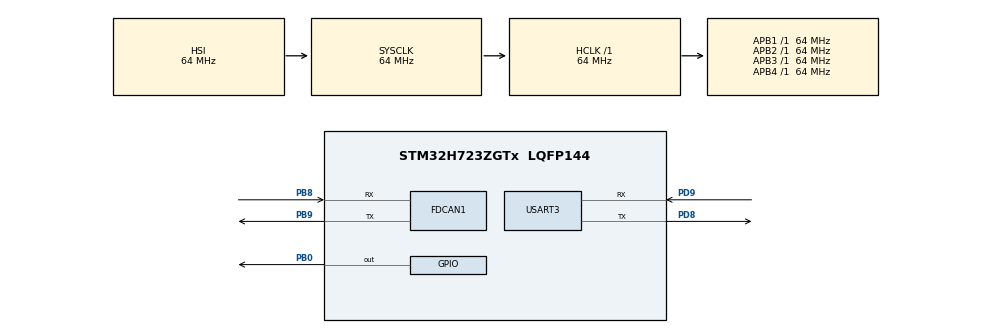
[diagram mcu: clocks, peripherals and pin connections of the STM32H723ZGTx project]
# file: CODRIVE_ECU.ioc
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FDCAN1.CalculateBaudRateNominal=500000
FDCAN1.CalculateTimeBitNominal=2000
FDCAN1.CalculateTimeQuantumNominal=31.25
FDCAN1.FrameFormat=FDCAN_FRAME_CLASSIC
FDCAN1.RxFifo0ElmtSize=FDCAN_DATA_BYTES_8
FDCAN1.TxFifoQueueElmtsNbr=3
FDCAN1.TxFifoQueueMode=FDCAN_TX_FIFO_OPERATION
FDCAN1.TxElmtSize=FDCAN_DATA_BYTES_8
FDCAN1.Mode=FDCAN_MODE_NORMAL
FDCAN1.NominalPrescaler=4
FDCAN1.NominalTimeSeg1=56
FDCAN1.NominalTimeSeg2=7
FDCAN1.RxFifo0ElmtsNbr=3
FDCAN1.StdFiltersNbr=1
Mcu.Family=STM32H7
Mcu.Name=STM32H723ZGTx
Mcu.Package=LQFP144
NVIC.FDCAN1_IT0_IRQn=true\:0\:0\:false\:false\:true\:true\:true\:true
NVIC.PriorityGroup=NVIC_PRIORITYGROUP_4
NVIC.USART3_IRQn=true\:0\:0\:false\:false\:true\:true\:true\:true
PB8.Mode=FDCAN_Activate
PB8.Signal=FDCAN1_RX
PB9.Mode=FDCAN_Activate
PB9.Signal=FDCAN1_TX
PB0.Signal=GPIO_Output
PD8.Mode=Asynchronous
PD8.Signal=USART3_TX
PD9.Mode=Asynchronous
PD9.Signal=USART3_RX
ProjectManager.HeapSize=0x200
ProjectManager.StackSize=0x400
ProjectManager.TargetToolchain=STM32CubeIDE
RCC.ADCFreq_Value=128000000
RCC.APB1Freq_Value=64000000
RCC.APB2Freq_Value=64000000
RCC.APB3Freq_Value=64000000
RCC.APB4Freq_Value=64000000
RCC.CortexFreq_Value=64000000
RCC.HCLKFreq_Value=64000000
RCC.PLLN=128
RCC.SYSCLKFreq_VALUE=64000000
RCC.USBFreq_Value=128000000
USART3.VirtualMode-Asynchronous=VM_ASYNC
VP_MEMORYMAP_VS_MEMORYMAP.Mode=CurAppReg
board=NUCLEO-H723ZG

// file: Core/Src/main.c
/* USER CODE BEGIN Header */
/**
  ******************************************************************************
  * @file    main.c
  * @brief   CODRIVE ECU - UART + Classic CAN VehicleState (500 kbit/s)
  ******************************************************************************
  */
/* USER CODE END Header */

#include "main.h"
#include <stdio.h>

/* USER CODE BEGIN PTD */
typedef struct
{
    float speed_kph;
    uint8_t brake_pressed;
    float steering_deg;
    uint32_t last_update_ms;
} VehicleState;
/* USER CODE END PTD */

/* USER CODE BEGIN PD */
#define CAN_ID_SPEED       0x100U
#define CAN_ID_BRAKE       0x101U
#define CAN_ID_STEERING    0x102U

#define CAN_TEST_PERIOD_MS 500U
/* USER CODE END PD */

FDCAN_HandleTypeDef hfdcan1;
UART_HandleTypeDef huart3;

/* USER CODE BEGIN PV */
static uint8_t rx_byte = 0;

volatile uint8_t last_rx_data = 0;
volatile uint32_t rx_count = 0;
volatile uint32_t uart_error_count = 0;
volatile uint32_t last_uart_error = 0;
volatile uint32_t uart_rearm_fail_count = 0;

volatile VehicleState vehicle_state = {0};

volatile uint32_t can_tx_count = 0;
volatile uint32_t can_rx_count = 0;
volatile uint32_t can_tx_error_count = 0;
volatile uint32_t can_rx_error_count = 0;
volatile uint32_t can_last_rx_id = 0;
volatile uint32_t can_last_hal_error = 0;
volatile uint32_t can_init_stage = 0;
volatile uint32_t can_valid_rx_count = 0;
volatile uint32_t can_invalid_frame_count = 0;
volatile uint32_t can_unknown_id_count = 0;
volatile uint32_t can_fifo_lost_count = 0;
volatile uint32_t can_bus_off_count = 0;
volatile uint32_t can_protocol_error_count = 0;
volatile uint32_t can_bus_off = 0;
volatile uint32_t can_last_protocol_error = 0;
volatile uint32_t can_kernel_clock_hz = 0;
volatile uint32_t can_nominal_bitrate = 0;
volatile uint32_t can_speed_rx_count = 0;
volatile uint32_t can_brake_rx_count = 0;
volatile uint32_t can_steering_rx_count = 0;
volatile uint32_t can_speed_last_ms = 0;
volatile uint32_t can_brake_last_ms = 0;
volatile uint32_t can_steering_last_ms = 0;
volatile uint32_t can_tx_error_counter = 0;
volatile uint32_t can_rx_error_counter = 0;
volatile uint32_t telemetry_tx_count = 0;
volatile uint32_t telemetry_skip_count = 0;
static char telemetry_buffer[320];

static uint32_t can_last_test_ms = 0;
static uint16_t test_speed_raw = 0;
static int16_t test_steering_raw = -300;
/* USER CODE END PV */

void SystemClock_Config(void);
static void MX_GPIO_Init(void);
static void MX_USART3_UART_Init(void);
static void MX_FDCAN1_Init(void);

/* USER CODE BEGIN PFP */
static void CAN_Setup(void);
static void CAN_Send(uint32_t id, const uint8_t data[8]);
static void CAN_ProcessRx(void);
static void CAN_SendTestData(void);
static void CAN_CheckStatus(void);
static void UART_SendVehicleTelemetry(void);
/* USER CODE END PFP */

/* USER CODE BEGIN 0 */

void HAL_UART_RxCpltCallback(UART_HandleTypeDef *huart)
{
    if (huart->Instance != USART3)
    {
        return;
    }

    last_rx_data = rx_byte;
    rx_count++;

    switch (rx_byte)
    {
        case '1':
            HAL_GPIO_WritePin(GPIOB, GPIO_PIN_0, GPIO_PIN_SET);
            break;

        case '0':
            HAL_GPIO_WritePin(GPIOB, GPIO_PIN_0, GPIO_PIN_RESET);
            break;

        case 'T':
        case 't':
            HAL_GPIO_TogglePin(GPIOB, GPIO_PIN_0);
            break;

        default:
            break;
    }

    if (HAL_UART_Receive_IT(&huart3, &rx_byte, 1) != HAL_OK)
    {
        uart_rearm_fail_count++;
    }
}

void HAL_UART_ErrorCallback(UART_HandleTypeDef *huart)
{
    if (huart->Instance != USART3)
    {
        return;
    }

    uart_error_count++;
    last_uart_error = HAL_UART_GetError(huart);

    if (huart->RxState == HAL_UART_STATE_READY)
    {
        if (HAL_UART_Receive_IT(&huart3, &rx_byte, 1) != HAL_OK)
        {
            uart_rearm_fail_count++;
        }
    }
}

static void CAN_Setup(void)
{
    FDCAN_FilterTypeDef filter = {0};

    can_init_stage = 1;

    can_kernel_clock_hz = HAL_RCCEx_GetPeriphCLKFreq(RCC_PERIPHCLK_FDCAN);
    can_nominal_bitrate = can_kernel_clock_hz /
        (hfdcan1.Init.NominalPrescaler *
         (1U + hfdcan1.Init.NominalTimeSeg1 + hfdcan1.Init.NominalTimeSeg2));
    if (can_kernel_clock_hz != 128000000U || can_nominal_bitrate != 500000U)
    {
        Error_Handler();
    }

    filter.IdType = FDCAN_STANDARD_ID;
    filter.FilterIndex = 0;
    filter.FilterType = FDCAN_FILTER_MASK;
    filter.FilterConfig = FDCAN_FILTER_TO_RXFIFO0;
    filter.FilterID1 = 0;
    filter.FilterID2 = 0;

    if (HAL_FDCAN_ConfigFilter(&hfdcan1, &filter) != HAL_OK)
    {
        can_last_hal_error = HAL_FDCAN_GetError(&hfdcan1);
        Error_Handler();
    }

    can_init_stage = 2;

    if (HAL_FDCAN_ConfigGlobalFilter(
            &hfdcan1,
            FDCAN_REJECT,
            FDCAN_REJECT,
            FDCAN_REJECT_REMOTE,
            FDCAN_REJECT_REMOTE) != HAL_OK)
    {
        can_last_hal_error = HAL_FDCAN_GetError(&hfdcan1);
        Error_Handler();
    }

    can_init_stage = 3;

    if (HAL_FDCAN_Start(&hfdcan1) != HAL_OK)
    {
        can_last_hal_error = HAL_FDCAN_GetError(&hfdcan1);
        Error_Handler();
    }

    can_init_stage = 4;
}

static void CAN_Send(uint32_t id, const uint8_t data[8])
{
    FDCAN_TxHeaderTypeDef tx_header = {0};

    tx_header.Identifier = id;
    tx_header.IdType = FDCAN_STANDARD_ID;
    tx_header.TxFrameType = FDCAN_DATA_FRAME;
    tx_header.DataLength = FDCAN_DLC_BYTES_8;
    tx_header.ErrorStateIndicator = FDCAN_ESI_ACTIVE;
    tx_header.BitRateSwitch = FDCAN_BRS_OFF;
    tx_header.FDFormat = FDCAN_CLASSIC_CAN;
    tx_header.TxEventFifoControl = FDCAN_NO_TX_EVENTS;
    tx_header.MessageMarker = 0;

    if (HAL_FDCAN_AddMessageToTxFifoQ(
            &hfdcan1,
            &tx_header,
            (uint8_t *)data) == HAL_OK)
    {
        can_tx_count++;
    }
    else
    {
        can_tx_error_count++;
        can_last_hal_error = HAL_FDCAN_GetError(&hfdcan1);
    }
}

static void CAN_SendTestData(void)
{
    uint8_t speed_data[8] = {0};
    uint8_t brake_data[8] = {0};
    uint8_t steering_data[8] = {0};

    uint16_t steering_bits;

    test_speed_raw += 50U;

    if (test_speed_raw > 10000U)
    {
        test_speed_raw = 0;
    }

    test_steering_raw += 100;

    if (test_steering_raw > 300)
    {
        test_steering_raw = -300;
    }

    /* Speed: uint16 little-endian, 0.01 km/h */
    speed_data[0] = (uint8_t)(test_speed_raw & 0xFFU);
    speed_data[1] = (uint8_t)((test_speed_raw >> 8) & 0xFFU);

    /* Brake: 0 = OFF, 1 = ON */
    brake_data[0] =
        ((test_speed_raw / 50U) % 2U) ? 1U : 0U;

    /* Steering: signed int16 little-endian, 0.1 degree */
    steering_bits = (uint16_t)test_steering_raw;

    steering_data[0] = (uint8_t)(steering_bits & 0xFFU);
    steering_data[1] = (uint8_t)((steering_bits >> 8) & 0xFFU);

    CAN_Send(CAN_ID_SPEED, speed_data);
    CAN_Send(CAN_ID_BRAKE, brake_data);
    CAN_Send(CAN_ID_STEERING, steering_data);
}

static void CAN_ProcessRx(void)
{
    FDCAN_RxHeaderTypeDef rx_header = {0};
    uint8_t rx_data[8] = {0};

    while (HAL_FDCAN_GetRxFifoFillLevel(
               &hfdcan1, FDCAN_RX_FIFO0) > 0U)
    {
        if (HAL_FDCAN_GetRxMessage(
                &hfdcan1,
                FDCAN_RX_FIFO0,
                &rx_header,
                rx_data) != HAL_OK)
        {
            can_rx_error_count++;
            can_last_hal_error = HAL_FDCAN_GetError(&hfdcan1);
            break;
        }

        can_rx_count++;
        can_last_rx_id = rx_header.Identifier;

        if (rx_header.IdType != FDCAN_STANDARD_ID ||
            rx_header.RxFrameType != FDCAN_DATA_FRAME ||
            rx_header.DataLength != FDCAN_DLC_BYTES_8 ||
            rx_header.FDFormat != FDCAN_CLASSIC_CAN)
        {
            can_invalid_frame_count++;
            continue;
        }

        switch (rx_header.Identifier)
        {
            case CAN_ID_SPEED:
            {
                uint16_t raw =
                    (uint16_t)rx_data[0] |
                    ((uint16_t)rx_data[1] << 8);

                vehicle_state.speed_kph = raw * 0.01f;
                vehicle_state.last_update_ms = HAL_GetTick();
                can_speed_last_ms = vehicle_state.last_update_ms;
                can_speed_rx_count++;
                can_valid_rx_count++;
                break;
            }

            case CAN_ID_BRAKE:
            {
                if (rx_data[0] > 1U)
                {
                    can_invalid_frame_count++;
                    break;
                }
                vehicle_state.brake_pressed =
                    (rx_data[0] != 0U) ? 1U : 0U;

                vehicle_state.last_update_ms = HAL_GetTick();
                can_brake_last_ms = vehicle_state.last_update_ms;
                can_brake_rx_count++;
                can_valid_rx_count++;
                break;
            }

            case CAN_ID_STEERING:
            {
                uint16_t bits =
                    (uint16_t)rx_data[0] |
                    ((uint16_t)rx_data[1] << 8);

                int32_t signed_raw =
                    (bits & 0x8000U)
                    ? ((int32_t)bits - 65536)
                    : (int32_t)bits;

                vehicle_state.steering_deg =
                    signed_raw * 0.1f;

                vehicle_state.last_update_ms = HAL_GetTick();
                can_steering_last_ms = vehicle_state.last_update_ms;
                can_steering_rx_count++;
                can_valid_rx_count++;
                break;
            }

            default:
                can_unknown_id_count++;
                break;
        }
    }
}

/* Poll status as well as FIFO; no second receive path or new UART protocol. */
static void CAN_CheckStatus(void)
{
    static uint32_t last_check_ms = 0;
    FDCAN_ProtocolStatusTypeDef status = {0};
    FDCAN_ErrorCountersTypeDef counters = {0};

    if (__HAL_FDCAN_GET_FLAG(&hfdcan1, FDCAN_FLAG_RX_FIFO0_MESSAGE_LOST))
    {
        __HAL_FDCAN_CLEAR_FLAG(&hfdcan1, FDCAN_FLAG_RX_FIFO0_MESSAGE_LOST);
        can_fifo_lost_count++; /* Latched events, not an exact lost-frame count. */
    }
    if ((HAL_GetTick() - last_check_ms) < 100U)
    {
        return;
    }
    last_check_ms = HAL_GetTick();
    if (HAL_FDCAN_GetProtocolStatus(&hfdcan1, &status) == HAL_OK)
    {
        if (status.BusOff && !can_bus_off)
        {
            can_bus_off_count++;
        }
        can_bus_off = status.BusOff;
        if (status.LastErrorCode > 0U && status.LastErrorCode < 7U)
        {
            can_last_protocol_error = status.LastErrorCode;
            can_protocol_error_count++; /* Error observations between status reads. */
        }
    }
    else
    {
        can_rx_error_count++;
        can_last_hal_error = HAL_FDCAN_GetError(&hfdcan1);
    }
    if (HAL_FDCAN_GetErrorCounters(&hfdcan1, &counters) == HAL_OK)
    {
        can_tx_error_counter = counters.TxErrorCnt;
        can_rx_error_counter = counters.RxErrorCnt;
    }
}

/* Nonblocking TX; UART RX interrupt and existing LED commands stay active.
 * Static buffer is only overwritten once the previous TX has completed. */
static void UART_SendVehicleTelemetry(void)
{
    static uint32_t last_ms = 0;
    uint32_t now = HAL_GetTick();
    int length;
    int32_t steering_tenths;
    if ((now - last_ms) < 200U)
    {
        return;
    }
    last_ms = now;
    if (huart3.gState != HAL_UART_STATE_READY)
    {
        telemetry_skip_count++;
        return;
    }
    steering_tenths = (int32_t)(vehicle_state.steering_deg * 10.0f +
                         ((vehicle_state.steering_deg >= 0.0f) ? 0.5f : -0.5f));
    length = snprintf(telemetry_buffer, sizeof(telemetry_buffer),
        "ECU,ms=%lu,speed_raw=%lu,brake=%u,steer_raw=%ld,rx=%lu,valid=%lu,"
        "speed_n=%lu,brake_n=%lu,steer_n=%lu,speed_ms=%lu,brake_ms=%lu,steer_ms=%lu,"
        "err=%lu,invalid=%lu,lost=%lu,bo=%lu,lec=%lu\r\n",
        (unsigned long)now,
        (unsigned long)(vehicle_state.speed_kph * 100.0f + 0.5f),
        (unsigned int)vehicle_state.brake_pressed, (long)steering_tenths,
        (unsigned long)can_rx_count, (unsigned long)can_valid_rx_count,
        (unsigned long)can_speed_rx_count, (unsigned long)can_brake_rx_count,
        (unsigned long)can_steering_rx_count,
        (unsigned long)can_speed_last_ms, (unsigned long)can_brake_last_ms,
        (unsigned long)can_steering_last_ms,
        (unsigned long)can_rx_error_count, (unsigned long)can_invalid_frame_count,
        (unsigned long)can_fifo_lost_count, (unsigned long)can_bus_off,
        (unsigned long)can_last_protocol_error);
    if (length > 0 && (size_t)length < sizeof(telemetry_buffer) &&
        HAL_UART_Transmit_IT(&huart3, (uint8_t *)telemetry_buffer, (uint16_t)length) == HAL_OK)
    {
        telemetry_tx_count++;
    }
    else
    {
        telemetry_skip_count++;
    }
}

/* USER CODE END 0 */

int main(void)
{
    HAL_Init();
    SystemClock_Config();

    MX_GPIO_Init();
    MX_USART3_UART_Init();
    MX_FDCAN1_Init();

    /* USER CODE BEGIN 2 */
    if (HAL_UART_Receive_IT(&huart3, &rx_byte, 1) != HAL_OK)
    {
        Error_Handler();
    }

    CAN_Setup();
    can_last_test_ms = HAL_GetTick();
    /* USER CODE END 2 */

    /* Infinite loop */
    /* USER CODE BEGIN WHILE */
    while (1)
    {
        CAN_ProcessRx();

        /* Never send loopback dummy values onto the real bus. */
        if (hfdcan1.Init.Mode == FDCAN_MODE_INTERNAL_LOOPBACK &&
            (HAL_GetTick() - can_last_test_ms) >= CAN_TEST_PERIOD_MS)
        {
            can_last_test_ms = HAL_GetTick();
            CAN_SendTestData();
        }

        CAN_ProcessRx();
        CAN_CheckStatus();
        UART_SendVehicleTelemetry();
    }
    /* USER CODE END WHILE */
}

void SystemClock_Config(void)
{
    RCC_OscInitTypeDef RCC_OscInitStruct = {0};
    RCC_ClkInitTypeDef RCC_ClkInitStruct = {0};

    HAL_PWREx_ConfigSupply(PWR_LDO_SUPPLY);

    __HAL_PWR_VOLTAGESCALING_CONFIG(PWR_REGULATOR_VOLTAGE_SCALE3);

    while (!__HAL_PWR_GET_FLAG(PWR_FLAG_VOSRDY))
    {
    }

    RCC_OscInitStruct.OscillatorType = RCC_OSCILLATORTYPE_HSI;
    RCC_OscInitStruct.HSIState = RCC_HSI_DIV1;
    RCC_OscInitStruct.HSICalibrationValue = 64;
    RCC_OscInitStruct.PLL.PLLState = RCC_PLL_ON;
    RCC_OscInitStruct.PLL.PLLSource = RCC_PLLSOURCE_HSI;
    RCC_OscInitStruct.PLL.PLLM = 32;
    RCC_OscInitStruct.PLL.PLLN = 128;
    RCC_OscInitStruct.PLL.PLLP = 2;
    RCC_OscInitStruct.PLL.PLLQ = 2;
    RCC_OscInitStruct.PLL.PLLR = 2;
    RCC_OscInitStruct.PLL.PLLRGE = RCC_PLL1VCIRANGE_1;
    RCC_OscInitStruct.PLL.PLLVCOSEL = RCC_PLL1VCOWIDE;
    RCC_OscInitStruct.PLL.PLLFRACN = 0;

    if (HAL_RCC_OscConfig(&RCC_OscInitStruct) != HAL_OK)
    {
        Error_Handler();
    }

    RCC_ClkInitStruct.ClockType =
        RCC_CLOCKTYPE_HCLK |
        RCC_CLOCKTYPE_SYSCLK |
        RCC_CLOCKTYPE_PCLK1 |
        RCC_CLOCKTYPE_PCLK2 |
        RCC_CLOCKTYPE_D3PCLK1 |
        RCC_CLOCKTYPE_D1PCLK1;

    RCC_ClkInitStruct.SYSCLKSource = RCC_SYSCLKSOURCE_HSI;
    RCC_ClkInitStruct.SYSCLKDivider = RCC_SYSCLK_DIV1;
    RCC_ClkInitStruct.AHBCLKDivider = RCC_HCLK_DIV1;
    RCC_ClkInitStruct.APB3CLKDivider = RCC_APB3_DIV1;
    RCC_ClkInitStruct.APB1CLKDivider = RCC_APB1_DIV1;
    RCC_ClkInitStruct.APB2CLKDivider = RCC_APB2_DIV1;
    RCC_ClkInitStruct.APB4CLKDivider = RCC_APB4_DIV1;

    if (HAL_RCC_ClockConfig(
            &RCC_ClkInitStruct,
            FLASH_LATENCY_1) != HAL_OK)
    {
        Error_Handler();
    }
}

static void MX_FDCAN1_Init(void)
{
    hfdcan1.Instance = FDCAN1;
    hfdcan1.Init.FrameFormat = FDCAN_FRAME_CLASSIC;
    hfdcan1.Init.Mode = FDCAN_MODE_NORMAL;
    hfdcan1.Init.AutoRetransmission = DISABLE;
    hfdcan1.Init.TransmitPause = DISABLE;
    hfdcan1.Init.ProtocolException = DISABLE;

    hfdcan1.Init.NominalPrescaler = 4;
    hfdcan1.Init.NominalSyncJumpWidth = 1;
    hfdcan1.Init.NominalTimeSeg1 = 56;
    hfdcan1.Init.NominalTimeSeg2 = 7;

    hfdcan1.Init.DataPrescaler = 1;
    hfdcan1.Init.DataSyncJumpWidth = 1;
    hfdcan1.Init.DataTimeSeg1 = 1;
    hfdcan1.Init.DataTimeSeg2 = 1;

    hfdcan1.Init.MessageRAMOffset = 0;
    hfdcan1.Init.StdFiltersNbr = 1;
    hfdcan1.Init.ExtFiltersNbr = 0;

    hfdcan1.Init.RxFifo0ElmtsNbr = 3;
    hfdcan1.Init.RxFifo0ElmtSize = FDCAN_DATA_BYTES_8;

    hfdcan1.Init.RxFifo1ElmtsNbr = 0;
    hfdcan1.Init.RxFifo1ElmtSize = FDCAN_DATA_BYTES_8;

    hfdcan1.Init.RxBuffersNbr = 0;
    hfdcan1.Init.RxBufferSize = FDCAN_DATA_BYTES_8;

    hfdcan1.Init.TxEventsNbr = 0;
    hfdcan1.Init.TxBuffersNbr = 0;
    hfdcan1.Init.TxFifoQueueElmtsNbr = 3;
    hfdcan1.Init.TxFifoQueueMode = FDCAN_TX_FIFO_OPERATION;
    hfdcan1.Init.TxElmtSize = FDCAN_DATA_BYTES_8;

    if (HAL_FDCAN_Init(&hfdcan1) != HAL_OK)
    {
        Error_Handler();
    }
}

static void MX_USART3_UART_Init(void)
{
    huart3.Instance = USART3;
    huart3.Init.BaudRate = 115200;
    huart3.Init.WordLength = UART_WORDLENGTH_8B;
    huart3.Init.StopBits = UART_STOPBITS_1;
    huart3.Init.Parity = UART_PARITY_NONE;
    huart3.Init.Mode = UART_MODE_TX_RX;
    huart3.Init.HwFlowCtl = UART_HWCONTROL_NONE;
    huart3.Init.OverSampling = UART_OVERSAMPLING_16;
    huart3.Init.OneBitSampling = UART_ONE_BIT_SAMPLE_DISABLE;
    huart3.Init.ClockPrescaler = UART_PRESCALER_DIV1;
    huart3.AdvancedInit.AdvFeatureInit = UART_ADVFEATURE_NO_INIT;

    if (HAL_UART_Init(&huart3) != HAL_OK)
    {
        Error_Handler();
    }

    if (HAL_UARTEx_SetTxFifoThreshold(
            &huart3,
            UART_TXFIFO_THRESHOLD_1_8) != HAL_OK)
    {
        Error_Handler();
    }

    if (HAL_UARTEx_SetRxFifoThreshold(
            &huart3,
            UART_RXFIFO_THRESHOLD_1_8) != HAL_OK)
    {
        Error_Handler();
    }

    if (HAL_UARTEx_DisableFifoMode(&huart3) != HAL_OK)
    {
        Error_Handler();
    }
}

static void MX_GPIO_Init(void)
{
    GPIO_InitTypeDef GPIO_InitStruct = {0};

    __HAL_RCC_GPIOB_CLK_ENABLE();
    __HAL_RCC_GPIOD_CLK_ENABLE();
    __HAL_RCC_GPIOA_CLK_ENABLE();

    HAL_GPIO_WritePin(GPIOB, GPIO_PIN_0, GPIO_PIN_RESET);

    GPIO_InitStruct.Pin = GPIO_PIN_0;
    GPIO_InitStruct.Mode = GPIO_MODE_OUTPUT_PP;
    GPIO_InitStruct.Pull = GPIO_NOPULL;
    GPIO_InitStruct.Speed = GPIO_SPEED_FREQ_LOW;

    HAL_GPIO_Init(GPIOB, &GPIO_InitStruct);
}

void Error_Handler(void)
{
    __disable_irq();

    while (1)
    {
    }
}
